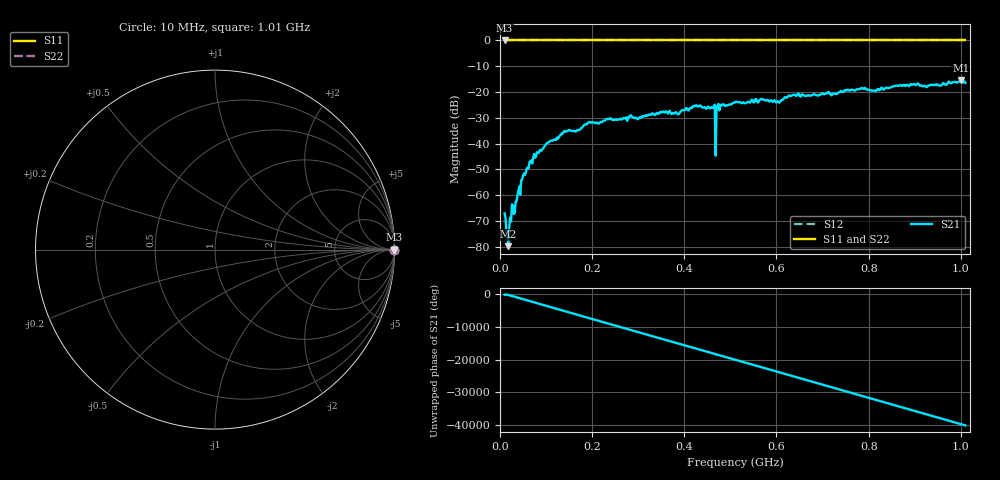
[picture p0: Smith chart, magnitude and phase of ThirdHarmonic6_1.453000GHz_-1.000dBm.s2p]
! 8/16/2025 4:51:41 PM
! C:\ANRITSUVNA\TEMP\TEMP.S2P
! CHANNEL.1
! TR.MEASUREMENT
! RAW.DATA
! RF.CORRECTION.OFF
! AVERAGING.OFF
! IF.BANDWIDTH: 5KHZ
! SWEEPTYPE:  FREQ.SWEEP(Linear)
! Reference Plane Port Info
! PORT:  PORT1  PORT2
! DISTANCE:  0  m  0  m
! TIME:  0  s  0  s
! PHASE.OFFSET:  0  deg.  0  deg.
! LOSS:  0  dB  0  dB
! REF.LOSS:  0  dB  0  dB
! REF.FREQ:  0  Hz  0  Hz
! Power Info
! POWER:  -20  dBm  -20  dBm
! EFF.POWER:  -20  dBm  -20  dBm
! SOURCE.ATTEN:  0  dB  0  dB
! TEST.ATTEN:  0  dB  0  dB
# GHZ S RI R 50.0
! FREQ.GHZ  S11RE  S11IM  S21RE  S21IM  S12RE  S12IM  S22RE  S22IM
!; PortSelection: Port_12
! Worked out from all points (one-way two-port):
!   501 points, 10 MHz to 1.01 GHz, reference 50 ohm
!   highest |S21| = -15.38 dB at 1 GHz (marker M1); lowest = -79.9 dB at 18 MHz (marker M2)
!   lowest |S11| = 0.0 dB at 10 MHz (marker M3)
!   |S11| at or under -10 dB: nowhere
!   |S22| runs from 0.0 to 0.0 dB; largest |S21 - S12| = 1.2
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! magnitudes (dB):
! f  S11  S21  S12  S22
! 10 MHz  0.0  -67.1  0.0  0.0
! 14 MHz  0.0  -74.3  0.0  0.0
! 18 MHz  0.0  -79.9  0.0  0.0
! 24 MHz  0.0  -70.3  0.0  0.0
! 34 MHz  0.0  -62.6  0.0  0.0
! 50 MHz  0.0  -52.6  0.0  0.0
! 70 MHz  0.0  -47.8  0.0  0.0
! 138 MHz  0.0  -35.4  0.0  0.0
! 178 MHz  0.0  -33.9  0.0  0.0
! 344 MHz  0.0  -28.5  0.0  0.0
! 388 MHz  0.0  -28.6  0.0  0.0
! 430 MHz  0.0  -25.7  0.0  0.0
! 462 MHz  0.0  -26.2  0.0  0.0
! 464 MHz  0.0  -25.8  0.0  0.0
! 472 MHz  0.0  -25.4  0.0  0.0
! 474 MHz  0.0  -24.6  0.0  0.0
! 510 MHz  0.0  -24.1  0.0  0.0
! 604 MHz  0.0  -23.8  0.0  0.0
! 678 MHz  0.0  -21.2  0.0  0.0
! 844 MHz  0.0  -18.5  0.0  0.0
! 1 GHz  0.0  -15.4  0.0  0.0
! 1.01 GHz  0.0  -16.5  0.0  0.0
